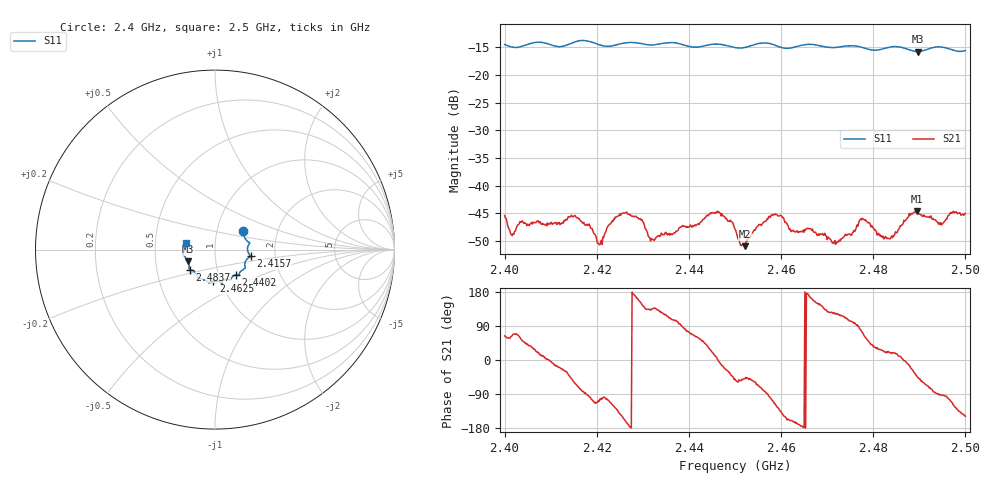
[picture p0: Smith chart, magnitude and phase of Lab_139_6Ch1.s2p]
# Hz S RI R 50
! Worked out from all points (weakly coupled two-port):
!   601 points, 2.4 GHz to 2.5 GHz, reference 50 ohm
!   highest |S21| = -44.59 dB at 2.4895 GHz (marker M1); lowest = -50.9 dB at 2.4522 GHz (marker M2)
!   lowest |S11| = -15.7 dB at 2.4897 GHz (marker M3), VSWR 1.39, Z = 36.7 - j4.97 ohm
!   |S11| at or under -10 dB: start of sweep to end of sweep
!   S12 and S22 are empty: the file has one direction only
!   S11 on the Smith chart (normalised r, x): 2.4 GHz: 1.33, +0.29; 2.4157 GHz: 1.49, -0.11; 2.4402 GHz: 1.20, -0.35; 2.4625 GHz: 0.92, -0.34; 2.4837 GHz: 0.74, -0.17; 2.5 GHz: 0.72, +0.05
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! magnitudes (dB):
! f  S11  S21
! 2.4 GHz  -14.5  -45.4
! 2.4018 GHz  -15.0  -48.6
! 2.4157 GHz  -13.9  -45.8
! 2.4167 GHz  -13.7  -46.4
! 2.4207 GHz  -14.6  -50.6
! 2.426 GHz  -14.2  -44.9
! 2.4333 GHz  -14.4  -49.0
! 2.4402 GHz  -14.8  -47.3
! 2.4463 GHz  -14.4  -44.8
! 2.45 GHz  -15.0  -47.8
! 2.4522 GHz  -15.0  -50.9
! 2.4583 GHz  -14.5  -45.1
! 2.4625 GHz  -15.0  -48.1
! 2.4667 GHz  -14.4  -48.1
! 2.4717 GHz  -15.0  -49.9
! 2.4778 GHz  -15.0  -46.0
! 2.4833 GHz  -15.0  -49.5
! 2.4837 GHz  -14.9  -49.6
! 2.4895 GHz  -15.7  -44.6
! 2.4897 GHz  -15.7  -45.0
! 2.4947 GHz  -14.9  -46.7
! 2.5 GHz  -15.6  -45.0
